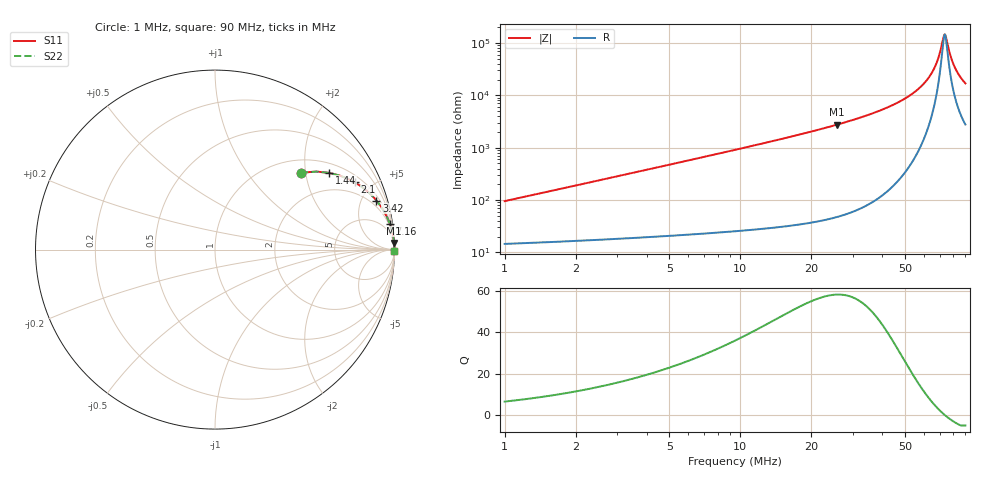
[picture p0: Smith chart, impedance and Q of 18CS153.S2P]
! Coilcraft 1812CS-153 Chip Inductor
! 31 July 2002
# MHZ S MA R 50
!Freq  MagS11  AngS11  MagS21  AngS21  MagS12  AngS12  MagS22  AngS22
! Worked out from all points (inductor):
!   406 points, 1 MHz to 90 MHz, reference 50 ohm
!   read as one part in series: L = 15 uH near 1.44 MHz
!   highest Q = 58.1 at 25.64 MHz (marker M1), where L = 17.1 uH
!   self-resonance near 73.6 MHz
!   S11 on the Smith chart (normalised r, x): 1 MHz: 1.29, +1.89; 1.44 MHz: 1.31, +2.72; 2.1 MHz: 1.33, +3.96; 3.42 MHz: 1.37, +6.46; 7.16 MHz: 1, +14; 90 MHz: open
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1  0.643 41.8  0.6742 -39.5  0.6742 -39.5  0.643 41.8
1.44  0.7666 33.9  0.561 -49.6  0.561 -49.6  0.7666 33.9
2.1  0.8646 25.7  0.4349 -59.5  0.4349 -59.5  0.8646 25.7
3.42  0.9402 16.9  0.2906 -69.8  0.2906 -69.8  0.9402 16.9
7.16  0.9846 8.3  0.1445 -79.8  0.1445 -79.8  0.9846 8.3
10.9  0.9931 5.4  0.09452 -83.1  0.09452 -83.1  0.9931 5.4
15.96  0.9967 3.6  0.06313 -85.2  0.06313 -85.2  0.9967 3.6
25.64  0.9987 2.1  0.03631 -86.9  0.03631 -86.9  0.9987 2.1
30.7  0.9991 1.6  0.02852 -87.3  0.02852 -87.3  0.9991 1.6
45.66  0.9995 0.8  0.01429 -87.5  0.01429 -87.5  0.9995 0.8
54.02  0.9995 0.5  0.009067 -86.5  0.009067 -86.5  0.9995 0.5
60.4  0.9995 0.3  0.005759 -84.5  0.005759 -84.5  0.9995 0.3
64.36  0.9994 0.2  0.003923 -81.5  0.003923 -81.5  0.9994 0.2
67.66  0.9994 0.1  0.002509 -75.9  0.002509 -75.9  0.9994 0.1
69.86  0.9994 0.1  0.00164 -67.2  0.00164 -67.2  0.9994 0.1
73.16  0.9993 0.0  0.0007039 -15.2  0.0007039 -15.2  0.9993 0.0
74.04  0.9993 -0.0  0.0007099 12.9  0.0007099 12.9  0.9993 -0.0
75.36  0.9993 -0.0  0.0009751 43.1  0.0009751 43.1  0.9993 -0.0
77.78  0.9993 -0.1  0.001745 64.5  0.001745 64.5  0.9993 -0.1
80.86  0.9992 -0.2  0.00281 73.3  0.00281 73.3  0.9992 -0.2
85.04  0.9991 -0.2  0.004242 77.9  0.004242 77.9  0.9991 -0.2
90  0.999 -0.3  0.005881 80.3  0.005881 80.3  0.999 -0.3
